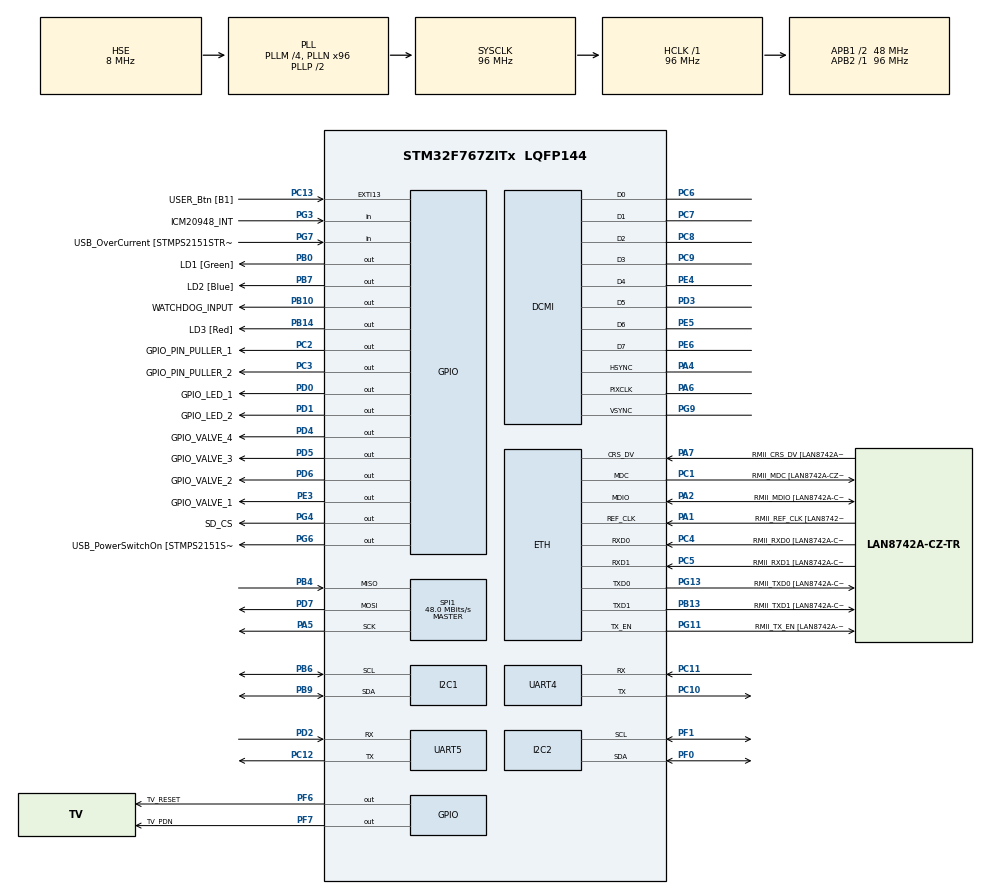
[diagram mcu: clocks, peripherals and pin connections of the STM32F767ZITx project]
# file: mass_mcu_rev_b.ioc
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DCMI.PCKPolarity=DCMI_PCKPOLARITY_RISING
DCMI.VSPolarity=DCMI_VSPOLARITY_HIGH
Dma.DCMI.0.Direction=DMA_PERIPH_TO_MEMORY
Dma.DCMI.0.FIFOMode=DMA_FIFOMODE_DISABLE
Dma.DCMI.0.Instance=DMA2_Stream1
Dma.DCMI.0.MemDataAlignment=DMA_MDATAALIGN_WORD
Dma.DCMI.0.MemInc=DMA_MINC_ENABLE
Dma.DCMI.0.Mode=DMA_NORMAL
Dma.DCMI.0.PeriphDataAlignment=DMA_PDATAALIGN_WORD
Dma.DCMI.0.PeriphInc=DMA_PINC_DISABLE
Dma.DCMI.0.Priority=DMA_PRIORITY_LOW
Dma.Request0=DCMI
ETH.MediaInterface=ETH_MEDIA_INTERFACE_RMII
ETH.PHY_Name=LAN8742A_PHY_ADDRESS
ETH.PHY_Value=0
ETH.PhyAddress=0
FATFS._MAX_SS=4096
FATFS._USE_LFN=1
I2C1.Timing=0x20303E5D
I2C2.Timing=0x20303E5D
LWIP.LWIP_DHCP=0
LWIP.LWIP_NETIF_LINK_CALLBACK=1
LWIP.Version=v2.1.2_Cube
Mcu.Family=STM32F7
Mcu.Name=STM32F767ZITx
Mcu.Package=LQFP144
NVIC.DMA2_Stream1_IRQn=true\:0\:0\:false\:false\:true\:false\:true
NVIC.PriorityGroup=NVIC_PRIORITYGROUP_4
PA1.GPIO_Label=RMII_REF_CLK [LAN8742A-CZ-TR_REFCLK0]
PA1.Mode=RMII
PA1.Signal=ETH_REF_CLK
PA10.GPIO_Label=USB_ID
PA10.Signal=USB_OTG_FS_ID
PA11.GPIO_Label=USB_DM
PA11.Signal=USB_OTG_FS_DM
PA12.GPIO_Label=USB_DP
PA12.Signal=USB_OTG_FS_DP
PA13.GPIO_Label=TMS
PA13.Mode=Serial_Wire
PA13.Signal=SYS_JTMS-SWDIO
PA14.GPIO_Label=TCK
PA14.Mode=Serial_Wire
PA14.Signal=SYS_JTCK-SWCLK
PA2.GPIO_Label=RMII_MDIO [LAN8742A-CZ-TR_MDIO]
PA2.Mode=RMII
PA2.Signal=ETH_MDIO
PA4.Mode=Slave_8_bits_External_Synchro
PA4.Signal=DCMI_HSYNC
PA5.Mode=Full_Duplex_Master
PA5.Signal=SPI1_SCK
PA6.Mode=Slave_8_bits_External_Synchro
PA6.Signal=DCMI_PIXCLK
PA7.GPIO_Label=RMII_CRS_DV [LAN8742A-CZ-TR_CRS_DV]
PA7.Mode=RMII
PA7.Signal=ETH_CRS_DV
PA8.GPIO_Label=USB_SOF [TP1]
PA8.Signal=USB_OTG_FS_SOF
PA9.GPIO_Label=USB_VBUS
PA9.Signal=USB_OTG_FS_VBUS
PB0.GPIO_Label=LD1 [Green]
PB0.Signal=GPIO_Output
PB10.GPIO_Label=WATCHDOG_INPUT
PB10.Signal=GPIO_Output
PB13.GPIO_Label=RMII_TXD1 [LAN8742A-CZ-TR_TXD1]
PB13.Mode=RMII
PB13.Signal=ETH_TXD1
PB14.GPIO_Label=LD3 [Red]
PB14.Signal=GPIO_Output
PB3.GPIO_Label=SWO
PB3.Signal=SYS_JTDO-SWO
PB4.Mode=Full_Duplex_Master
PB4.Signal=SPI1_MISO
PB6.Mode=I2C
PB6.Signal=I2C1_SCL
PB7.GPIO_Label=LD2 [Blue]
PB7.Signal=GPIO_Output
PB9.Mode=I2C
PB9.Signal=I2C1_SDA
PC1.GPIO_Label=RMII_MDC [LAN8742A-CZ-TR_MDC]
PC1.Mode=RMII
PC1.Signal=ETH_MDC
PC10.Mode=Asynchronous
PC10.Signal=UART4_TX
PC11.Mode=Asynchronous
PC11.Signal=UART4_RX
PC12.Mode=Asynchronous
PC12.Signal=UART5_TX
PC13.GPIO_Label=USER_Btn [B1]
PC13.Signal=GPXTI13
PC14/OSC32_IN.Mode=LSE-External-Oscillator
PC14/OSC32_IN.Signal=RCC_OSC32_IN
PC15/OSC32_OUT.Mode=LSE-External-Oscillator
PC15/OSC32_OUT.Signal=RCC_OSC32_OUT
PC2.GPIO_Label=GPIO_PIN_PULLER_1
PC2.Signal=GPIO_Output
PC3.GPIO_Label=GPIO_PIN_PULLER_2
PC3.Signal=GPIO_Output
PC4.GPIO_Label=RMII_RXD0 [LAN8742A-CZ-TR_RXD0]
PC4.Mode=RMII
PC4.Signal=ETH_RXD0
PC5.GPIO_Label=RMII_RXD1 [LAN8742A-CZ-TR_RXD1]
PC5.Mode=RMII
PC5.Signal=ETH_RXD1
PC6.Mode=Slave_8_bits_External_Synchro
PC6.Signal=DCMI_D0
PC7.Mode=Slave_8_bits_External_Synchro
PC7.Signal=DCMI_D1
PC8.Mode=Slave_8_bits_External_Synchro
PC8.Signal=DCMI_D2
PC9.Mode=Slave_8_bits_External_Synchro
PC9.Signal=DCMI_D3
PD0.GPIO_Label=GPIO_LED_1
PD0.Signal=GPIO_Output
PD1.GPIO_Label=GPIO_LED_2
PD1.Signal=GPIO_Output
PD2.Mode=Asynchronous
PD2.Signal=UART5_RX
PD3.Mode=Slave_8_bits_External_Synchro
PD3.Signal=DCMI_D5
PD4.GPIO_Label=GPIO_VALVE_4
PD4.Signal=GPIO_Output
PD5.GPIO_Label=GPIO_VALVE_3
PD5.Signal=GPIO_Output
PD6.GPIO_Label=GPIO_VALVE_2
PD6.Signal=GPIO_Output
PD7.Mode=Full_Duplex_Master
PD7.Signal=SPI1_MOSI
PD8.GPIO_Label=STLK_RX [STM32F103CBT6_PA3]
PD8.Signal=USART3_TX
PD9.GPIO_Label=STLK_TX [STM32F103CBT6_PA2]
PD9.Signal=USART3_RX
PE3.GPIO_Label=GPIO_VALVE_1
PE3.Signal=GPIO_Output
PE4.Mode=Slave_8_bits_External_Synchro
PE4.Signal=DCMI_D4
PE5.Mode=Slave_8_bits_External_Synchro
PE5.Signal=DCMI_D6
PE6.Mode=Slave_8_bits_External_Synchro
PE6.Signal=DCMI_D7
PF0.Mode=I2C
PF0.Signal=I2C2_SDA
PF1.Mode=I2C
PF1.Signal=I2C2_SCL
PF6.GPIO_Label=TV_RESET
PF6.Signal=GPIO_Output
PF7.GPIO_Label=TV_PDN
PF7.Signal=GPIO_Output
PG11.GPIO_Label=RMII_TX_EN [LAN8742A-CZ-TR_TXEN]
PG11.Mode=RMII
PG11.Signal=ETH_TX_EN
PG13.GPIO_Label=RMII_TXD0 [LAN8742A-CZ-TR_TXD0]
PG13.Mode=RMII
PG13.Signal=ETH_TXD0
PG3.GPIO_Label=ICM20948_INT
PG3.Signal=GPIO_Input
PG4.GPIO_Label=SD_CS
PG4.Signal=GPIO_Output
PG6.GPIO_Label=USB_PowerSwitchOn [STMPS2151STR_EN]
PG6.Signal=GPIO_Output
PG7.GPIO_Label=USB_OverCurrent [STMPS2151STR_FAULT]
PG7.Signal=GPIO_Input
PG9.Mode=Slave_8_bits_External_Synchro
PG9.Signal=DCMI_VSYNC
PH0/OSC_IN.GPIO_Label=MCO [STM32F103CBT6_PA8]
PH0/OSC_IN.Mode=HSE-External-Oscillator
PH0/OSC_IN.Signal=RCC_OSC_IN
PH1/OSC_OUT.Mode=HSE-External-Oscillator
PH1/OSC_OUT.Signal=RCC_OSC_OUT
ProjectManager.HeapSize=0x200
ProjectManager.StackSize=0x400
ProjectManager.TargetToolchain=SW4STM32
RCC.48MHZClocksFreq_Value=24000000
RCC.AHBFreq_Value=96000000
RCC.APB1CLKDivider=RCC_HCLK_DIV2
RCC.APB1Freq_Value=48000000
RCC.APB1TimFreq_Value=96000000
RCC.APB2Freq_Value=96000000
RCC.APB2TimFreq_Value=96000000
RCC.CortexFreq_Value=96000000
RCC.HCLKFreq_Value=96000000
RCC.HSE_VALUE=8000000
RCC.HSI_VALUE=16000000
RCC.PLLM=4
RCC.PLLMUL=RCC_PLL_MUL9
RCC.PLLN=96
RCC.PLLQ=4
RCC.PLLSourceVirtual=RCC_PLLSOURCE_HSE
RCC.PRESCALERUSB=RCC_USBCLKSOURCE_PLL_DIV1_5
RCC.SYSCLKFreq_VALUE=96000000
RCC.SYSCLKSource=RCC_SYSCLKSOURCE_PLLCLK
RCC.SYSCLKSourceVirtual=RCC_SYSCLKSOURCE_PLLCLK
RCC.USBFreq_Value=48000000
RCC.VCOOutputFreq_Value=192000000
SPI1.CalculateBaudRate=48.0 MBits/s
SPI1.Direction=SPI_DIRECTION_2LINES
SPI1.Mode=SPI_MODE_MASTER
SPI1.VirtualType=VM_MASTER
VP_FATFS_VS_Generic.Mode=User_defined
VP_LWIP_VS_Enabled.Mode=Enabled
board=NUCLEO-F767ZI

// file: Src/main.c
/* USER CODE BEGIN Header */
/**
  ******************************************************************************
  * @file           : main.c
  * @brief          : Main program body
  ******************************************************************************
  * @attention
  *
  * <h2><center>&copy; Copyright (c) 2021 STMicroelectronics.
  * All rights reserved.</center></h2>
  *
  * This software component is licensed by ST under Ultimate Liberty license
  * SLA0044, the "License"; You may not use this file except in compliance with
  * the License. You may obtain a copy of the License at:
  *                             www.st.com/SLA0044
  *
  ******************************************************************************
  */
/* USER CODE END Header */

#include "main.h"
#include "dcmi.h"
#include "dma.h"
#include "fatfs.h"
#include "i2c.h"
#include "lwip.h"
#include "spi.h"
#include "usart.h"
#include "gpio.h"

/* USER CODE BEGIN Includes */
#include "devices/tv_decoder/tvp5150.h"
#include "devices/i2c_addresses.h"
#include "devices/adc/adc.h"
#include "devices/sensors/sensors.h"
#include "devices/switches/switches.h"
#include "ethernet/message_ids.h"

/* USER CODE END Includes */

/* USER CODE BEGIN PV */
extern I2C_HandleTypeDef hi2c1;
extern I2C_HandleTypeDef hi2c2;
uint8_t* frame_buffer;//[IMG_ROWS* IMG_COLUMNS] = {}; //frame buffer

extern void downlink();

/* USER CODE END PV */

void SystemClock_Config(void);

int main(void)
{

  /* MCU Configuration--------------------------------------------------------*/

  /* Reset of all peripherals, Initializes the Flash interface and the Systick. */
  HAL_Init();

  /* Configure the system clock */
  SystemClock_Config();

  /* Initialize all configured peripherals */
  MX_GPIO_Init();
  MX_DMA_Init();
  MX_DCMI_Init();
  MX_I2C1_Init();
  MX_I2C2_Init();
  MX_SPI1_Init();
  MX_UART4_Init();
  MX_UART5_Init();
  MX_FATFS_Init();
  MX_LWIP_Init();

  frame_buffer = malloc(IMG_ROWS* IMG_COLUMNS);
  /* USER CODE BEGIN 2 */

  tcp_echoserver_init();
  udp_echoclient_connect();

  tvp5150_reset();
  HAL_Delay(100);

  tvp5150_init_register();
  tvp5150_get_status();
 // HAL_Delay(100);

  //tvp5150_capture_snapshot();
	/* USER CODE END 2 */

	/* Infinite loop */
	/* USER CODE BEGIN WHILE */
	while (1) {
		MX_LWIP_Process();

		switch_off_handler();

		/* USER CODE END WHILE */

		if (HAL_GPIO_ReadPin(GPIOC, GPIO_PIN_13)) {

			//downlink();

			  HAL_DCMI_Start_DMA(&hdcmi, DCMI_MODE_SNAPSHOT, (uint32_t)frame_buffer,IMG_ROWS * IMG_COLUMNS/4);//

			 HAL_DCMI_Stop(&hdcmi);

			for (int i = 0; i < IMG_COLUMNS; i++) {

				udp_echoclient_send_frame(data_down_picture,(uint16_t)i,frame_buffer + i * IMG_ROWS, IMG_ROWS);

				HAL_Delay(5);
			}

			HAL_Delay(100);

		}
		HAL_Delay(10);

	}
}

void SystemClock_Config(void)
{
  RCC_OscInitTypeDef RCC_OscInitStruct = {0};
  RCC_ClkInitTypeDef RCC_ClkInitStruct = {0};
  RCC_PeriphCLKInitTypeDef PeriphClkInitStruct = {0};

  /** Configure LSE Drive Capability
  */
  HAL_PWR_EnableBkUpAccess();
  /** Configure the main internal regulator output voltage
  */
  __HAL_RCC_PWR_CLK_ENABLE();
  __HAL_PWR_VOLTAGESCALING_CONFIG(PWR_REGULATOR_VOLTAGE_SCALE3);
  /** Initializes the CPU, AHB and APB busses clocks
  */
  RCC_OscInitStruct.OscillatorType = RCC_OSCILLATORTYPE_HSE;
  RCC_OscInitStruct.HSEState = RCC_HSE_ON;
  RCC_OscInitStruct.PLL.PLLState = RCC_PLL_ON;
  RCC_OscInitStruct.PLL.PLLSource = RCC_PLLSOURCE_HSE;
  RCC_OscInitStruct.PLL.PLLM = 4;
  RCC_OscInitStruct.PLL.PLLN = 96;
  RCC_OscInitStruct.PLL.PLLP = RCC_PLLP_DIV2;
  RCC_OscInitStruct.PLL.PLLQ = 4;
  if (HAL_RCC_OscConfig(&RCC_OscInitStruct) != HAL_OK)
  {
    Error_Handler();
  }
  /** Activate the Over-Drive mode
  */
  if (HAL_PWREx_EnableOverDrive() != HAL_OK)
  {
    Error_Handler();
  }
  /** Initializes the CPU, AHB and APB busses clocks
  */
  RCC_ClkInitStruct.ClockType = RCC_CLOCKTYPE_HCLK|RCC_CLOCKTYPE_SYSCLK
                              |RCC_CLOCKTYPE_PCLK1|RCC_CLOCKTYPE_PCLK2;
  RCC_ClkInitStruct.SYSCLKSource = RCC_SYSCLKSOURCE_PLLCLK;
  RCC_ClkInitStruct.AHBCLKDivider = RCC_SYSCLK_DIV1;
  RCC_ClkInitStruct.APB1CLKDivider = RCC_HCLK_DIV2;
  RCC_ClkInitStruct.APB2CLKDivider = RCC_HCLK_DIV1;

  if (HAL_RCC_ClockConfig(&RCC_ClkInitStruct, FLASH_LATENCY_3) != HAL_OK)
  {
    Error_Handler();
  }
  PeriphClkInitStruct.PeriphClockSelection = RCC_PERIPHCLK_UART4|RCC_PERIPHCLK_UART5
                              |RCC_PERIPHCLK_I2C1|RCC_PERIPHCLK_I2C2;
  PeriphClkInitStruct.Uart4ClockSelection = RCC_UART4CLKSOURCE_PCLK1;
  PeriphClkInitStruct.Uart5ClockSelection = RCC_UART5CLKSOURCE_PCLK1;
  PeriphClkInitStruct.I2c1ClockSelection = RCC_I2C1CLKSOURCE_PCLK1;
  PeriphClkInitStruct.I2c2ClockSelection = RCC_I2C2CLKSOURCE_PCLK1;
  if (HAL_RCCEx_PeriphCLKConfig(&PeriphClkInitStruct) != HAL_OK)
  {
    Error_Handler();
  }
}

void Error_Handler(void)
{
}

/************************ (C) COPYRIGHT STMicroelectronics *****END OF FILE****/
